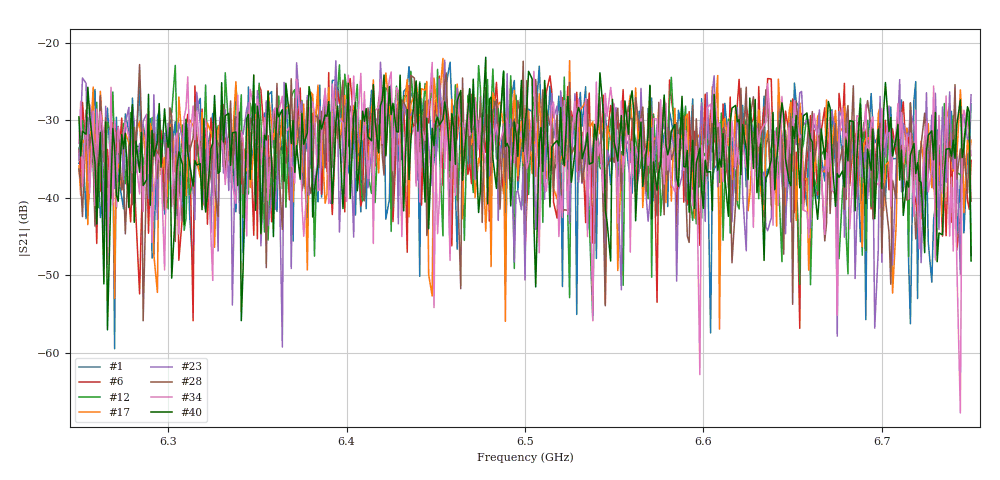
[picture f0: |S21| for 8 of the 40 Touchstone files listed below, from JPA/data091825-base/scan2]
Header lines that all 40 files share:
# Hz S RI R 50
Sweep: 6.25 GHz to 6.75 GHz
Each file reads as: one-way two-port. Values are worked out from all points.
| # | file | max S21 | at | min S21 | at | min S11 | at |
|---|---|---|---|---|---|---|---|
| 1 | trace40.s2p | -22.47 dB | 6.458 GHz | -59.5 dB | 6.27 GHz | -3.4 dB | 6.629 GHz |
| 2 | trace41.s2p | -22.14 dB | 6.42 GHz | -54.2 dB | 6.664 GHz | -3.3 dB | 6.65 GHz |
| 3 | trace42.s2p | -23.28 dB | 6.509 GHz | -55.0 dB | 6.288 GHz | -3.4 dB | 6.75 GHz |
| 4 | trace43.s2p | -20.80 dB | 6.418 GHz | -56.2 dB | 6.34 GHz | -3.7 dB | 6.738 GHz |
| 5 | trace44.s2p | -20.32 dB | 6.495 GHz | -63.9 dB | 6.74 GHz | -3.8 dB | 6.746 GHz |
| 6 | trace45.s2p | -23.72 dB | 6.448 GHz | -56.9 dB | 6.654 GHz | -4.1 dB | 6.735 GHz |
| 7 | trace46.s2p | -22.44 dB | 6.462 GHz | -55.2 dB | 6.332 GHz | -4.1 dB | 6.749 GHz |
| 8 | trace47.s2p | -20.31 dB | 6.412 GHz | -60.4 dB | 6.296 GHz | -3.8 dB | 6.746 GHz |
| 9 | trace48.s2p | -22.70 dB | 6.526 GHz | -69.2 dB | 6.635 GHz | -4.3 dB | 6.746 GHz |
| 10 | trace49.s2p | -21.97 dB | 6.46 GHz | -54.1 dB | 6.481 GHz | -4.6 dB | 6.741 GHz |
| 11 | trace50.s2p | -20.62 dB | 6.42 GHz | -58.4 dB | 6.26 GHz | -4.6 dB | 6.738 GHz |
| 12 | trace51.s2p | -22.82 dB | 6.396 GHz | -55.8 dB | 6.538 GHz | -4.7 dB | 6.735 GHz |
| 13 | trace52.s2p | -19.39 dB | 6.409 GHz | -49.5 dB | 6.674 GHz | -4.3 dB | 6.732 GHz |
| 14 | trace53.s2p | -21.90 dB | 6.41 GHz | -53.3 dB | 6.598 GHz | -4.7 dB | 6.735 GHz |
| 15 | trace54.s2p | -21.65 dB | 6.41 GHz | -58.7 dB | 6.505 GHz | -4.9 dB | 6.746 GHz |
| 16 | trace55.s2p | -22.72 dB | 6.472 GHz | -56.8 dB | 6.72 GHz | -4.7 dB | 6.732 GHz |
| 17 | trace56.s2p | -21.99 dB | 6.454 GHz | -57.0 dB | 6.609 GHz | -4.6 dB | 6.719 GHz |
| 18 | trace57.s2p | -21.56 dB | 6.452 GHz | -52.0 dB | 6.619 GHz | -4.6 dB | 6.724 GHz |
| 19 | trace58.s2p | -20.67 dB | 6.375 GHz | -61.0 dB | 6.714 GHz | -5.0 dB | 6.714 GHz |
| 20 | trace59.s2p | -21.98 dB | 6.462 GHz | -53.9 dB | 6.546 GHz | -4.7 dB | 6.718 GHz |
| 21 | trace60.s2p | -22.76 dB | 6.408 GHz | -54.9 dB | 6.3 GHz | -4.5 dB | 6.71 GHz |
| 22 | trace61.s2p | -21.89 dB | 6.414 GHz | -56.0 dB | 6.311 GHz | -4.6 dB | 6.688 GHz |
| 23 | trace62.s2p | -22.20 dB | 6.455 GHz | -59.3 dB | 6.364 GHz | -4.5 dB | 6.711 GHz |
| 24 | trace63.s2p | -24.28 dB | 6.39 GHz | -60.6 dB | 6.642 GHz | -4.2 dB | 6.71 GHz |
| 25 | trace64.s2p | -23.14 dB | 6.371 GHz | -62.6 dB | 6.612 GHz | -4.1 dB | 6.719 GHz |
| 26 | trace65.s2p | -23.29 dB | 6.38 GHz | -60.5 dB | 6.369 GHz | -4.3 dB | 6.69 GHz |
| 27 | trace66.s2p | -24.05 dB | 6.478 GHz | -60.3 dB | 6.452 GHz | -4.2 dB | 6.714 GHz |
| 28 | trace67.s2p | -22.35 dB | 6.499 GHz | -55.9 dB | 6.286 GHz | -3.7 dB | 6.701 GHz |
| 29 | trace68.s2p | -21.48 dB | 6.396 GHz | -58.9 dB | 6.612 GHz | -3.9 dB | 6.679 GHz |
| 30 | trace69.s2p | -22.75 dB | 6.434 GHz | -62.8 dB | 6.715 GHz | -3.6 dB | 6.709 GHz |
| 31 | trace70.s2p | -22.83 dB | 6.482 GHz | -58.4 dB | 6.671 GHz | -3.8 dB | 6.668 GHz |
| 32 | trace71.s2p | -21.68 dB | 6.44 GHz | -64.6 dB | 6.362 GHz | -3.4 dB | 6.684 GHz |
| 33 | trace72.s2p | -23.40 dB | 6.615 GHz | -62.3 dB | 6.32 GHz | -3.5 dB | 6.689 GHz |
| 34 | trace73.s2p | -22.52 dB | 6.448 GHz | -67.8 dB | 6.744 GHz | -3.5 dB | 6.68 GHz |
| 35 | trace74.s2p | -20.53 dB | 6.415 GHz | -75.8 dB | 6.292 GHz | -3.5 dB | 6.658 GHz |
| 36 | trace75.s2p | -21.79 dB | 6.48 GHz | -56.2 dB | 6.378 GHz | -3.6 dB | 6.668 GHz |
| 37 | trace76.s2p | -19.30 dB | 6.426 GHz | -63.5 dB | 6.65 GHz | -3.7 dB | 6.671 GHz |
| 38 | trace77.s2p | -23.09 dB | 6.488 GHz | -64.3 dB | 6.424 GHz | -3.8 dB | 6.68 GHz |
| 39 | trace78.s2p | -22.55 dB | 6.406 GHz | -62.4 dB | 6.366 GHz | -3.4 dB | 6.69 GHz |
| 40 | trace79.s2p | -21.84 dB | 6.478 GHz | -57.1 dB | 6.266 GHz | -3.4 dB | 6.676 GHz |
